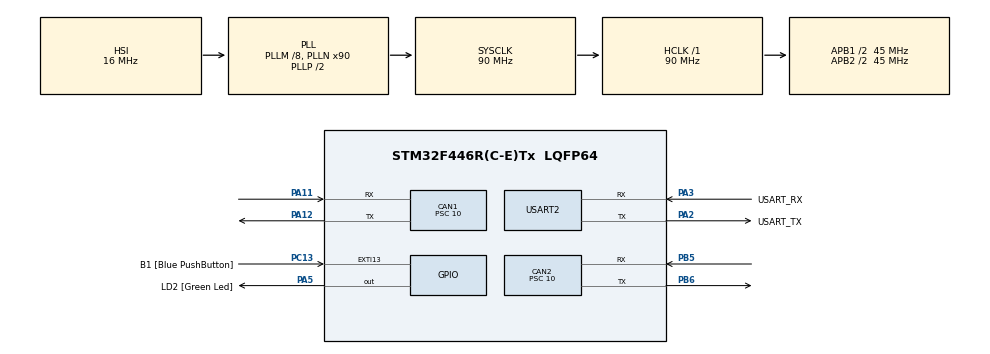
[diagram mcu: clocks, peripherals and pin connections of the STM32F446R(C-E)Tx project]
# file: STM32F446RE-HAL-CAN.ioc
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CAN1.BS1=CAN_BS1_6TQ
CAN1.BS2=CAN_BS2_2TQ
CAN1.CalculateBaudRate=500000
CAN1.CalculateTimeBit=1999.99
CAN1.CalculateTimeQuantum=222.22222222222223
CAN1.Prescaler=10
CAN2.BS1=CAN_BS1_6TQ
CAN2.BS2=CAN_BS2_2TQ
CAN2.CalculateBaudRate=500000
CAN2.CalculateTimeBit=1999.99
CAN2.CalculateTimeQuantum=222.22222222222223
CAN2.Prescaler=10
Mcu.Family=STM32F4
Mcu.Name=STM32F446R(C-E)Tx
Mcu.Package=LQFP64
NVIC.CAN1_RX0_IRQn=true\:0\:0\:false\:false\:true\:true\:true
NVIC.CAN1_RX1_IRQn=true\:0\:0\:false\:false\:true\:true\:true
NVIC.CAN1_TX_IRQn=true\:0\:0\:false\:false\:true\:true\:true
NVIC.CAN2_RX0_IRQn=true\:0\:0\:false\:false\:true\:true\:true
NVIC.CAN2_RX1_IRQn=true\:0\:0\:false\:false\:true\:true\:true
NVIC.CAN2_TX_IRQn=true\:0\:0\:false\:false\:true\:true\:true
NVIC.PriorityGroup=NVIC_PRIORITYGROUP_0
PA11.Mode=CAN_Activate
PA11.Signal=CAN1_RX
PA12.Mode=CAN_Activate
PA12.Signal=CAN1_TX
PA13.GPIO_Label=TMS
PA13.Mode=Serial_Wire
PA13.Signal=SYS_JTMS-SWDIO
PA14.GPIO_Label=TCK
PA14.Mode=Serial_Wire
PA14.Signal=SYS_JTCK-SWCLK
PA2.GPIO_Label=USART_TX
PA2.Mode=Asynchronous
PA2.Signal=USART2_TX
PA3.GPIO_Label=USART_RX
PA3.Mode=Asynchronous
PA3.Signal=USART2_RX
PA5.GPIO_Label=LD2 [Green Led]
PA5.Signal=GPIO_Output
PB3.GPIO_Label=SWO
PB3.Signal=SYS_JTDO-SWO
PB5.Mode=CAN_Activate
PB5.Signal=CAN2_RX
PB6.Mode=CAN_Activate
PB6.Signal=CAN2_TX
PC13.GPIO_Label=B1 [Blue PushButton]
PC13.GPIO_ModeDefaultEXTI=GPIO_MODE_IT_FALLING
PC13.Signal=GPXTI13
PC14-OSC32_IN.Mode=LSE-External-Oscillator
PC14-OSC32_IN.Signal=RCC_OSC32_IN
PC15-OSC32_OUT.Mode=LSE-External-Oscillator
PC15-OSC32_OUT.Signal=RCC_OSC32_OUT
PH0-OSC_IN.Mode=HSE-External-Oscillator
PH0-OSC_IN.Signal=RCC_OSC_IN
PH1-OSC_OUT.Mode=HSE-External-Oscillator
PH1-OSC_OUT.Signal=RCC_OSC_OUT
ProjectManager.HeapSize=0x200
ProjectManager.StackSize=0x400
ProjectManager.TargetToolchain=STM32CubeIDE
RCC.48MHZClocksFreq_Value=84000000
RCC.AHBFreq_Value=90000000
RCC.APB1CLKDivider=RCC_HCLK_DIV2
RCC.APB1Freq_Value=45000000
RCC.APB1TimFreq_Value=90000000
RCC.APB2CLKDivider=RCC_HCLK_DIV2
RCC.APB2Freq_Value=45000000
RCC.APB2TimFreq_Value=90000000
RCC.CortexFreq_Value=90000000
RCC.FLatency-AdvancedSettings=FLASH_LATENCY_2
RCC.HCLKFreq_Value=90000000
RCC.HSE_VALUE=8000000
RCC.HSI_VALUE=16000000
RCC.PLLM=8
RCC.PLLN=90
RCC.SYSCLKFreq_VALUE=90000000
RCC.SYSCLKSource=RCC_SYSCLKSOURCE_PLLCLK
RCC.USBFreq_Value=90000000
RCC.VCOOutputFreq_Value=180000000
USART2.VirtualMode=VM_ASYNC
board=NUCLEO-F446RE

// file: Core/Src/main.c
/* USER CODE BEGIN Header */
/**
 ******************************************************************************
 * @file           : main.c
 * @brief          : Main program body
 ******************************************************************************
 * @attention
 *
 * <h2><center>&copy; Copyright (c) 2021 STMicroelectronics.
 * All rights reserved.</center></h2>
 *
 * This software component is licensed by ST under BSD 3-Clause license,
 * the "License"; You may not use this file except in compliance with the
 * License. You may obtain a copy of the License at:
 *                        opensource.org/licenses/BSD-3-Clause
 *
 ******************************************************************************
 */
/* USER CODE END Header */
#include "main.h"

/* USER CODE BEGIN PD */
#define DEBUG_SERIAL
/* USER CODE END PD */

CAN_HandleTypeDef hcan1;
CAN_HandleTypeDef hcan2;

UART_HandleTypeDef huart2;

void SystemClock_Config(void);
static void MX_GPIO_Init(void);
static void MX_USART2_UART_Init(void);
static void MX_CAN1_Init(void);
static void MX_CAN2_Init(void);

/* USER CODE BEGIN 0 */
//UART
void uart_putc(uint8_t c) {
	char buf[1];
	buf[0] = c;
	HAL_UART_Transmit(&huart2, (uint8_t*) buf, sizeof(buf), 0xFF);
}
void uart_puts(char *str) {
	while (*str) {
		uart_putc(*str++);
	}
}

CAN_TxHeaderTypeDef TxHeader;
CAN_RxHeaderTypeDef RxHeader;

uint8_t TxData[8];
uint8_t RxData[8];
uint32_t TxMailbox;
uint8_t cnt;

void HAL_CAN_RxFifo0MsgPendingCallback(CAN_HandleTypeDef *hcan) {
	RxHeader.IDE = CAN_ID_STD;
	if (HAL_CAN_GetRxMessage(hcan, CAN_RX_FIFO0, &RxHeader, RxData) != HAL_OK) {
		Error_Handler();
	}
	char buf[100];
	sprintf(buf, " id=%d [0]=%d [1]=%d[2]=%d\r\n", RxHeader.ExtId, RxData[0],
			RxData[1], RxData[2]);
	uart_puts(buf);
}

/* USER CODE END 0 */

int main(void) {

	/* MCU Configuration--------------------------------------------------------*/

	/* Reset of all peripherals, Initializes the Flash interface and the Systick. */
	HAL_Init();

	/* Configure the system clock */
	SystemClock_Config();

	/* Initialize all configured peripherals */
	MX_GPIO_Init();
	MX_USART2_UART_Init();
	MX_CAN1_Init();
	MX_CAN2_Init();
	/* USER CODE BEGIN 2 */

	char buf[100] = "Hello\r\n";
	HAL_UART_Transmit(&huart2, (uint8_t*) buf, sizeof(buf), 0xFFFF);

	uint32_t loopNum = 0;

	HAL_CAN_Start(&hcan1);
	if (HAL_CAN_ActivateNotification(&hcan1, CAN_IT_RX_FIFO0_MSG_PENDING)
			!= HAL_OK) {
		Error_Handler();
	}
	HAL_CAN_Start(&hcan2);
	if (HAL_CAN_ActivateNotification(&hcan2, CAN_IT_RX_FIFO0_MSG_PENDING)
			!= HAL_OK) {
		Error_Handler();
	}

	/* USER CODE END 2 */

	/* Infinite loop */
	while (1) {

		/* USER CODE BEGIN 3 */
		sprintf(buf, "%ld\t", loopNum);
		uart_puts(buf);
		sprintf(buf, "\r\n");
		uart_puts(buf);
		loopNum++;
		HAL_GPIO_TogglePin(GPIOB, GPIO_PIN_3);
		//HAL_Delay(100);

		TxHeader.StdId = 0x01;
		TxHeader.RTR = CAN_RTR_DATA;
		TxHeader.IDE = CAN_ID_STD;
		TxHeader.DLC = 3;
		TxHeader.TransmitGlobalTime = DISABLE;
		TxData[0] = 100;
		TxData[1] = 200;
		TxData[2] = 0;

		/* Request transmission */
		if (HAL_CAN_AddTxMessage(&hcan2, &TxHeader, TxData, &TxMailbox)
				!= HAL_OK) {
			/* Transmission request Error */
			Error_Handler();
		}
		//HAL_Delay(10);
		while (HAL_CAN_GetTxMailboxesFreeLevel(&hcan2) != 3) {
		}

		TxHeader.StdId = 0x02;
		if (HAL_CAN_AddTxMessage(&hcan1, &TxHeader, TxData, &TxMailbox)
				!= HAL_OK) {
			/* Transmission request Error */
			Error_Handler();
		}

		/*while (HAL_CAN_GetTxMailboxesFreeLevel(&hcan1) != 3) {
		 }*/
		HAL_Delay(10);
	}
	/* USER CODE END 3 */
}

void SystemClock_Config(void) {
	RCC_OscInitTypeDef RCC_OscInitStruct = { 0 };
	RCC_ClkInitTypeDef RCC_ClkInitStruct = { 0 };

	/** Configure the main internal regulator output voltage
	 */
	__HAL_RCC_PWR_CLK_ENABLE();
	__HAL_PWR_VOLTAGESCALING_CONFIG(PWR_REGULATOR_VOLTAGE_SCALE3);
	/** Initializes the RCC Oscillators according to the specified parameters
	 * in the RCC_OscInitTypeDef structure.
	 */
	RCC_OscInitStruct.OscillatorType = RCC_OSCILLATORTYPE_HSI;
	RCC_OscInitStruct.HSIState = RCC_HSI_ON;
	RCC_OscInitStruct.HSICalibrationValue = RCC_HSICALIBRATION_DEFAULT;
	RCC_OscInitStruct.PLL.PLLState = RCC_PLL_ON;
	RCC_OscInitStruct.PLL.PLLSource = RCC_PLLSOURCE_HSI;
	RCC_OscInitStruct.PLL.PLLM = 8;
	RCC_OscInitStruct.PLL.PLLN = 90;
	RCC_OscInitStruct.PLL.PLLP = RCC_PLLP_DIV2;
	RCC_OscInitStruct.PLL.PLLQ = 2;
	RCC_OscInitStruct.PLL.PLLR = 2;
	if (HAL_RCC_OscConfig(&RCC_OscInitStruct) != HAL_OK) {
		Error_Handler();
	}
	/** Initializes the CPU, AHB and APB buses clocks
	 */
	RCC_ClkInitStruct.ClockType = RCC_CLOCKTYPE_HCLK | RCC_CLOCKTYPE_SYSCLK
			| RCC_CLOCKTYPE_PCLK1 | RCC_CLOCKTYPE_PCLK2;
	RCC_ClkInitStruct.SYSCLKSource = RCC_SYSCLKSOURCE_PLLCLK;
	RCC_ClkInitStruct.AHBCLKDivider = RCC_SYSCLK_DIV1;
	RCC_ClkInitStruct.APB1CLKDivider = RCC_HCLK_DIV2;
	RCC_ClkInitStruct.APB2CLKDivider = RCC_HCLK_DIV2;

	if (HAL_RCC_ClockConfig(&RCC_ClkInitStruct, FLASH_LATENCY_2) != HAL_OK) {
		Error_Handler();
	}
}

static void MX_CAN1_Init(void) {

	hcan1.Instance = CAN1;
	hcan1.Init.Prescaler = 10;
	hcan1.Init.Mode = CAN_MODE_NORMAL;
	hcan1.Init.SyncJumpWidth = CAN_SJW_1TQ;
	hcan1.Init.TimeSeg1 = CAN_BS1_6TQ;
	hcan1.Init.TimeSeg2 = CAN_BS2_2TQ;
	hcan1.Init.TimeTriggeredMode = DISABLE;
	hcan1.Init.AutoBusOff = DISABLE;
	hcan1.Init.AutoWakeUp = DISABLE;
	hcan1.Init.AutoRetransmission = DISABLE;
	hcan1.Init.ReceiveFifoLocked = DISABLE;
	hcan1.Init.TransmitFifoPriority = DISABLE;
	if (HAL_CAN_Init(&hcan1) != HAL_OK) {
		Error_Handler();
	}

}

static void MX_CAN2_Init(void) {

	hcan2.Instance = CAN2;
	hcan2.Init.Prescaler = 10;
	hcan2.Init.Mode = CAN_MODE_NORMAL;
	hcan2.Init.SyncJumpWidth = CAN_SJW_1TQ;
	hcan2.Init.TimeSeg1 = CAN_BS1_6TQ;
	hcan2.Init.TimeSeg2 = CAN_BS2_2TQ;
	hcan2.Init.TimeTriggeredMode = DISABLE;
	hcan2.Init.AutoBusOff = DISABLE;
	hcan2.Init.AutoWakeUp = DISABLE;
	hcan2.Init.AutoRetransmission = DISABLE;
	hcan2.Init.ReceiveFifoLocked = DISABLE;
	hcan2.Init.TransmitFifoPriority = DISABLE;
	if (HAL_CAN_Init(&hcan2) != HAL_OK) {
		Error_Handler();
	}

}

static void MX_USART2_UART_Init(void) {

	huart2.Instance = USART2;
	huart2.Init.BaudRate = 115200;
	huart2.Init.WordLength = UART_WORDLENGTH_8B;
	huart2.Init.StopBits = UART_STOPBITS_1;
	huart2.Init.Parity = UART_PARITY_NONE;
	huart2.Init.Mode = UART_MODE_TX_RX;
	huart2.Init.HwFlowCtl = UART_HWCONTROL_NONE;
	huart2.Init.OverSampling = UART_OVERSAMPLING_16;
	if (HAL_UART_Init(&huart2) != HAL_OK) {
		Error_Handler();
	}

}

static void MX_GPIO_Init(void) {
	GPIO_InitTypeDef GPIO_InitStruct = { 0 };

	/* GPIO Ports Clock Enable */
	__HAL_RCC_GPIOC_CLK_ENABLE();
	__HAL_RCC_GPIOH_CLK_ENABLE();
	__HAL_RCC_GPIOA_CLK_ENABLE();
	__HAL_RCC_GPIOB_CLK_ENABLE();

	/*Configure GPIO pin Output Level */
	HAL_GPIO_WritePin(LD2_GPIO_Port, LD2_Pin, GPIO_PIN_RESET);

	/*Configure GPIO pin : B1_Pin */
	GPIO_InitStruct.Pin = B1_Pin;
	GPIO_InitStruct.Mode = GPIO_MODE_IT_FALLING;
	GPIO_InitStruct.Pull = GPIO_NOPULL;
	HAL_GPIO_Init(B1_GPIO_Port, &GPIO_InitStruct);

	/*Configure GPIO pin : LD2_Pin */
	GPIO_InitStruct.Pin = LD2_Pin;
	GPIO_InitStruct.Mode = GPIO_MODE_OUTPUT_PP;
	GPIO_InitStruct.Pull = GPIO_NOPULL;
	GPIO_InitStruct.Speed = GPIO_SPEED_FREQ_LOW;
	HAL_GPIO_Init(LD2_GPIO_Port, &GPIO_InitStruct);

}

void Error_Handler(void) {
	__disable_irq();
	while (1) {
	}
}

/************************ (C) COPYRIGHT STMicroelectronics *****END OF FILE****/
